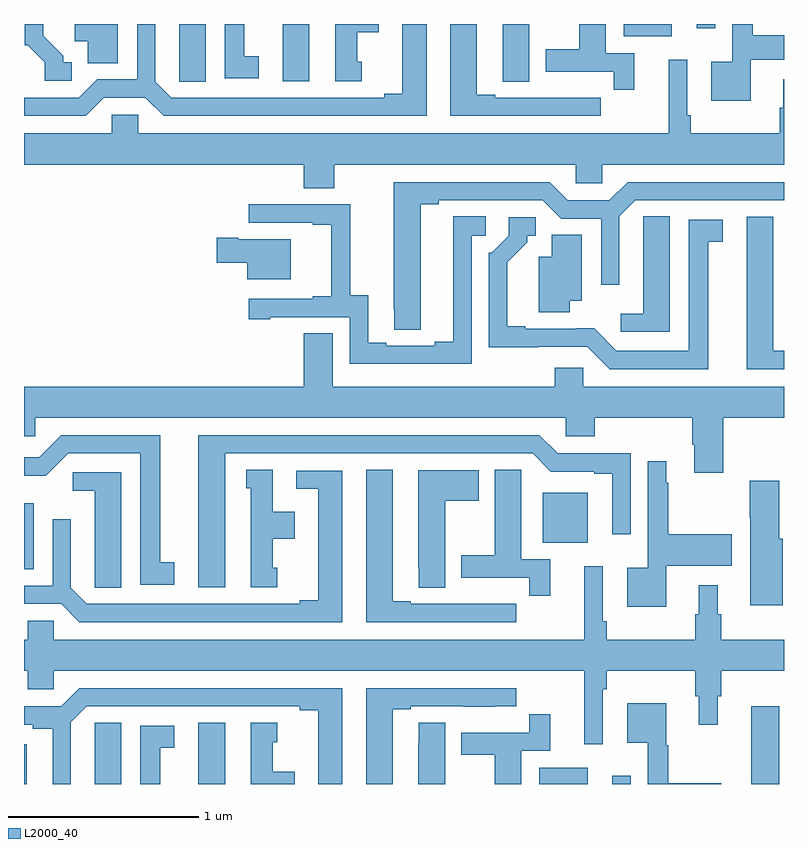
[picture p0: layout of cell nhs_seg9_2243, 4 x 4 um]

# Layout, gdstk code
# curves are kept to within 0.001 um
import gdstk
lib = gdstk.Library(unit=1e-6, precision=1e-09)
def R(c, l, rs):  # rectangles x0, y0, x1, y1
    for r in rs: c.add(gdstk.rectangle(r[:2], r[2:], *l))
def P(c, l, *ps):  # polygons
    for p in ps: c.add(gdstk.Polygon(p, *l))
L2000_40 = (2000, 40)

nhs_seg9_2243 = lib.new_cell('nhs_seg9_2243')
R(nhs_seg9_2243, L2000_40, [(239,1186.5,239.014,1186.71), (239.918,1186.5,240.058,1186.822), (241.712,1186.5,241.966,1186.585), (242.096,1186.5,242.193,1186.543), (242.828,1186.5,242.975,1186.909), (239,1187.629,239.05,1187.977), (241.73,1187.771,241.966,1188.034), (240.362,1190.199,240.502,1190.5), (242.156,1190.435,242.41,1190.5), (242.54,1190.478,242.637,1190.5)])
P(nhs_seg9_2243, L2000_40, [(240.235,1190.33),(240.16,1190.33),(240.16,1190.5),(240.056,1190.5),(240.056,1190.214),(240.235,1190.214)],
  [(239.251,1190.298),(239.206,1190.298),(239.206,1190.333),(239.101,1190.438),(239.101,1190.5),(239.004,1190.5),(239.004,1190.388),(239.019,1190.388),(239.109,1190.298),(239.109,1190.202),(239.251,1190.202)],
  [(239.956,1190.5),(239.816,1190.5),(239.816,1190.305),(239.817,1190.305),(239.817,1190.197),(239.956,1190.197)],
  [(240.778,1190.301),(240.754,1190.301),(240.754,1190.456),(240.868,1190.456),(240.868,1190.5),(240.638,1190.5),(240.638,1190.199),(240.778,1190.199)],
  [(239.494,1190.5),(239.267,1190.5),(239.267,1190.408),(239.336,1190.408),(239.336,1190.293),(239.494,1190.293)],
  [(242.035,1190.112),(241.922,1190.112),(241.922,1190.113),(241.756,1190.113),(241.756,1190.112),(241.48,1190.112),(241.48,1190.127),(241.384,1190.127),(241.384,1190.5),(241.244,1190.5),(241.244,1190.016),(242.035,1190.016)],
  [(239.421,1190.112),(239.639,1190.112),(239.735,1190.016),(241.12,1190.016),(241.12,1190.5),(240.992,1190.5),(240.992,1190.132),(240.896,1190.132),(240.896,1190.112),(239.775,1190.112),(239.691,1190.196),(239.691,1190.5),(239.595,1190.5),(239.595,1190.208),(239.385,1190.208),(239.289,1190.112),(239,1190.112),(239,1190.016),(239.325,1190.016)],
  [(241.66,1190.5),(241.52,1190.5),(241.52,1190.305),(241.521,1190.305),(241.521,1190.197),(241.66,1190.197)],
  [(242.213,1190.346),(242.062,1190.346),(242.062,1190.5),(241.922,1190.5),(241.922,1190.367),(241.745,1190.367),(241.745,1190.25),(242.104,1190.25),(242.104,1190.154),(242.213,1190.154)],
  [(242.824,1190.312),(243,1190.312),(243,1190.442),(242.836,1190.442),(242.836,1190.5),(242.727,1190.5),(242.727,1190.302),(242.618,1190.302),(242.618,1190.096),(242.824,1190.096)],
  [(240.633,1189.76),(241.905,1189.76),(241.905,1189.662),(242.043,1189.662),(242.043,1189.76),(243,1189.76),(243,1190.209),(242.996,1190.209),(242.996,1190.058),(242.977,1190.058),(242.977,1189.924),(242.51,1189.924),(242.51,1190.02),(242.49,1190.02),(242.49,1190.311),(242.393,1190.311),(242.393,1189.924),(239.601,1189.924),(239.601,1190.022),(239.463,1190.022),(239.463,1189.924),(239,1189.924),(239,1189.76),(240.473,1189.76),(240.473,1189.636),(240.633,1189.636)],
  [(241.087,1189.552),(241.183,1189.552),(241.183,1189.572),(241.731,1189.572),(241.827,1189.476),(242.037,1189.476),(242.037,1189.128),(242.133,1189.128),(242.133,1189.488),(242.217,1189.572),(243,1189.572),(243,1189.668),(242.177,1189.668),(242.081,1189.572),(241.863,1189.572),(241.767,1189.668),(240.947,1189.668),(240.948,1188.892),(241.087,1188.892)],
  [(241.356,1189.386),(241.429,1189.386),(241.429,1189.487),(241.259,1189.487),(241.259,1188.827),(241.163,1188.827),(241.163,1188.807),(240.907,1188.807),(240.907,1188.822),(240.811,1188.822),(240.811,1189.073),(240.717,1189.073),(240.717,1189.551),(240.183,1189.551),(240.183,1189.455),(240.521,1189.455),(240.521,1189.443),(240.617,1189.443),(240.617,1189.066),(240.521,1189.066),(240.521,1189.053),(240.183,1189.053),(240.183,1188.945),(240.295,1188.945),(240.295,1188.957),(240.714,1188.957),(240.714,1188.711),(241.356,1188.711)],
  [(242.398,1189.487),(242.259,1189.487),(242.259,1189.379),(242.258,1189.379),(242.258,1188.976),(242.142,1188.976),(242.142,1188.879),(242.398,1188.879)],
  [(243,1188.78),(242.944,1188.78),(242.944,1189.486),(242.804,1189.486),(242.804,1188.684),(243,1188.684)],
  [(242.602,1189.354),(242.677,1189.354),(242.677,1189.47),(242.498,1189.47),(242.498,1188.78),(242.118,1188.78),(242,1188.898),(241.639,1188.897),(241.639,1188.91),(241.543,1188.91),(241.543,1189.246),(241.648,1189.351),(241.648,1189.386),(241.693,1189.386),(241.693,1189.482),(241.551,1189.482),(241.551,1189.386),(241.461,1189.296),(241.446,1189.296),(241.446,1188.8),(241.965,1188.801),(242.082,1188.684),(242.602,1188.684)],
  [(241.873,1189.043),(241.936,1189.043),(241.936,1189.391),(241.778,1189.391),(241.778,1189.276),(241.709,1189.276),(241.709,1188.982),(241.873,1188.982)],
  [(240.403,1189.366),(240.127,1189.366),(240.127,1189.374),(240.015,1189.374),(240.015,1189.244),(240.176,1189.244),(240.176,1189.157),(240.403,1189.157)],
  [(242.681,1188.428),(243,1188.428),(243,1188.592),(241.944,1188.592),(241.944,1188.69),(241.793,1188.69),(241.793,1188.592),(240.625,1188.592),(240.625,1188.872),(240.473,1188.872),(240.473,1188.592),(239,1188.592),(239,1188.33),(239.058,1188.33),(239.058,1188.428),(241.851,1188.428),(241.851,1188.33),(242.003,1188.33),(242.003,1188.428),(242.516,1188.428),(242.516,1188.286),(242.528,1188.286),(242.528,1188.138),(242.681,1188.138)],
  [(240.058,1188.24),(241.677,1188.24),(241.773,1188.144),(242,1188.144),(242,1188.132),(242.096,1188.132),(242.096,1187.814),(242.193,1187.814),(242.193,1188.24),(241.809,1188.24),(241.713,1188.336),(239.918,1188.336),(239.918,1187.535),(240.058,1187.535)],
  [(239.791,1187.666),(239.716,1187.666),(239.716,1188.336),(239.196,1188.336),(239.079,1188.219),(239,1188.219),(239,1188.123),(239.114,1188.122),(239.232,1188.24),(239.612,1188.24),(239.612,1187.55),(239.791,1187.55)],
  [(242.38,1187.648),(242.725,1187.648),(242.725,1187.814),(242.392,1187.814),(242.392,1188.086),(242.38,1188.086),(242.38,1188.199),(242.283,1188.199),(242.283,1187.638),(242.174,1187.638),(242.174,1187.432),(242.38,1187.432)],
  [(241.769,1187.682),(241.618,1187.682),(241.618,1188.044),(241.617,1188.044),(241.617,1188.155),(241.478,1188.155),(241.478,1187.703),(241.301,1187.703),(241.301,1187.586),(241.66,1187.586),(241.66,1187.49),(241.769,1187.49)],
  [(240.334,1187.637),(240.31,1187.637),(240.31,1187.792),(240.424,1187.792),(240.424,1187.932),(240.31,1187.932),(240.31,1188.155),(240.17,1188.155),(240.17,1188.057),(240.194,1188.057),(240.194,1187.535),(240.334,1187.535)],
  [(241.591,1187.448),(241.478,1187.448),(241.478,1187.449),(241.312,1187.449),(241.312,1187.448),(241.036,1187.448),(241.036,1187.463),(240.94,1187.463),(240.94,1188.155),(240.8,1188.155),(240.8,1187.352),(241.591,1187.352)],
  [(241.216,1187.992),(241.393,1187.992),(241.393,1188.151),(241.076,1188.151),(241.076,1187.641),(241.077,1187.641),(241.077,1187.533),(241.216,1187.533)],
  [(240.676,1188.15),(240.432,1188.15),(240.432,1188.054),(240.548,1188.054),(240.548,1187.468),(240.452,1187.468),(240.452,1187.448),(239.331,1187.448),(239.247,1187.532),(239.247,1187.893),(239.151,1187.893),(239.151,1187.544),(239,1187.544),(239,1187.448),(239.195,1187.448),(239.291,1187.352),(240.676,1187.352)],
  [(239.512,1188.141),(239.256,1188.141),(239.256,1188.044),(239.372,1188.044),(239.372,1187.641),(239.373,1187.641),(239.373,1187.533),(239.512,1187.533)],
  [(242.993,1187.79),(242.975,1187.79),(242.975,1188.097),(242.821,1188.097),(242.821,1187.902),(242.822,1187.902),(242.822,1187.442),(242.993,1187.442)],
  [(242.046,1187),(242.066,1187),(242.066,1187.096),(242.533,1187.096),(242.533,1186.962),(242.552,1186.962),(242.552,1186.812),(242.65,1186.812),(242.65,1186.962),(242.669,1186.962),(242.669,1187.096),(243,1187.096),(243,1187.26),(242.669,1187.26),(242.669,1187.394),(242.65,1187.394),(242.65,1187.545),(242.552,1187.545),(242.552,1187.394),(242.533,1187.394),(242.533,1187.26),(242.066,1187.26),(242.066,1187.356),(242.046,1187.356),(242.046,1187.647),(241.949,1187.647),(241.949,1187.26),(239.157,1187.26),(239.157,1187.358),(239.019,1187.358),(239.019,1187.26),(239,1187.26),(239,1187.096),(239.019,1187.096),(239.019,1186.998),(239.157,1186.998),(239.157,1187.096),(241.949,1187.096),(241.949,1186.71),(242.046,1186.71)],
  [(239.247,1186.824),(239.331,1186.908),(240.452,1186.908),(240.452,1186.888),(240.548,1186.888),(240.548,1186.5),(240.676,1186.5),(240.676,1187.004),(239.291,1187.004),(239.195,1186.908),(239,1186.908),(239,1186.812),(239.046,1186.812),(239.046,1186.792),(239.15,1186.792),(239.15,1186.5),(239.247,1186.5)],
  [(240.94,1186.893),(241.036,1186.893),(241.036,1186.908),(241.312,1186.908),(241.312,1186.907),(241.478,1186.907),(241.478,1186.908),(241.591,1186.908),(241.591,1187.004),(240.8,1187.004),(240.8,1186.5),(240.94,1186.5)],
  [(242.671,1186.505),(242.392,1186.505),(242.392,1186.704),(242.38,1186.704),(242.38,1186.924),(242.174,1186.924),(242.174,1186.718),(242.283,1186.718),(242.283,1186.5),(242.671,1186.5)],
  [(241.618,1186.674),(241.769,1186.674),(241.769,1186.867),(241.66,1186.867),(241.66,1186.77),(241.301,1186.77),(241.301,1186.654),(241.478,1186.654),(241.478,1186.5),(241.618,1186.5)],
  [(239.512,1186.823),(239.373,1186.823),(239.373,1186.715),(239.372,1186.715),(239.372,1186.5),(239.512,1186.5)],
  [(241.216,1186.823),(241.077,1186.823),(241.077,1186.715),(241.076,1186.715),(241.076,1186.5),(241.216,1186.5)],
  [(240.424,1186.564),(240.31,1186.564),(240.31,1186.719),(240.334,1186.719),(240.334,1186.822),(240.194,1186.822),(240.194,1186.5),(240.424,1186.5)],
  [(239.716,1186.69),(239.791,1186.69),(239.791,1186.806),(239.612,1186.806),(239.612,1186.5),(239.716,1186.5)])

lib.write_gds('nhs_seg9_2243.gds')
